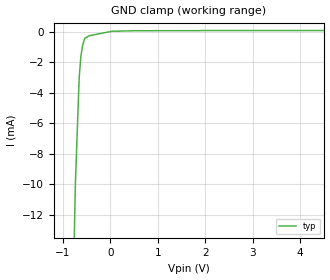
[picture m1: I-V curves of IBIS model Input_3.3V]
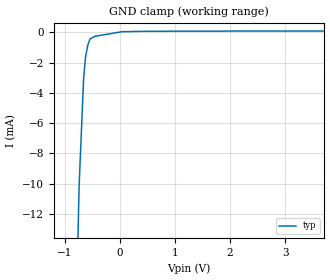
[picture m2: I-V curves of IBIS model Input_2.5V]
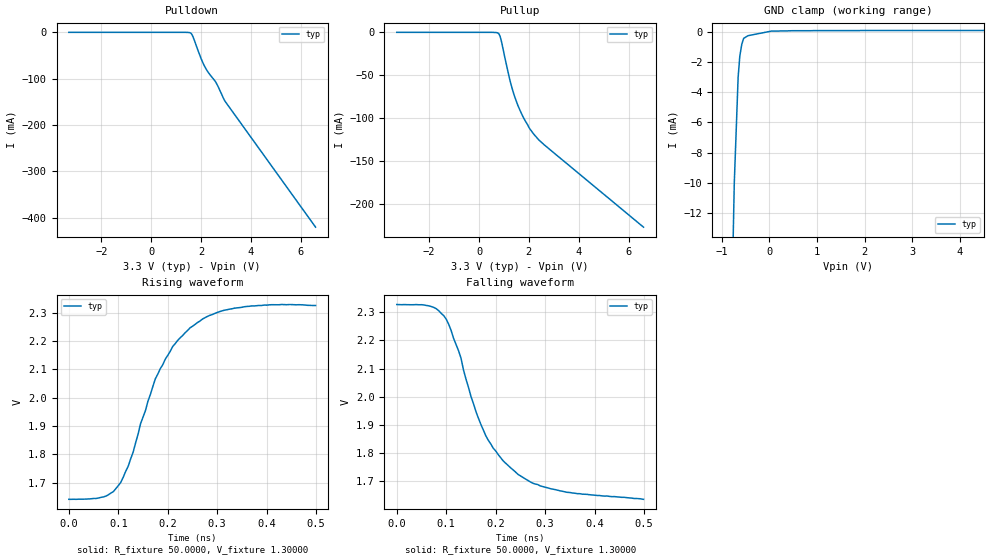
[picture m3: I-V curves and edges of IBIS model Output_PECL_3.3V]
| Teraspeed Modeling Services.
| http://www.teraspeed.com
[IBIS Ver]   3.2
[Comment Char] |_char
[File Name]   nb6l239mn.ibs
[File Rev]   3.0
[Source]  Teraspeed Consulting Group LLC.
   Measured and Created by Dekker Graden
[Date]   06-18-2004
[Notes]   Quality Check of this IBIS model: Model Passes IBIS Check
   Model parses into ICX IS. Simulation done with Hyperlynx.
[Disclaimer]
| Use: Teraspeed Consulting Group LLC ("Teraspeed") has
| licensed IBIS models to specific integrated circuit
| suppliers ("IC Vendors") for use and distribustion as
| follows: Each IC Vendor may use IBIS Models, and distribute
| them to IC Vendor's custumers to use solely for developing
| printed circute board designs. Users of this model may
| modify the IBIS model to suit its specific applications but
| rights to derivative works and such modifications shell belong
| to Teraspeed. No other distribusion of these materials is
| permitted.
| DISCLAIMER OF WARRANTY: UNLESS OTHERWISE AGREED TO IN WRITING
| TERASPEED DISCLAIMS AND USER WAIVES ALL WARRANTIES, EXPRESS
| OR IMPLIED, INCLUDING WARRANTIES OF MERCHANTABILITY AND
| FITNESS FOR A PARTICULAR PURPOSE. IN NO EVENT SHALL
| TERASPEED BE LIABLE FOR ANY DIRECT OR INDIRECT DAMAGES,
| WHETHER IN CONTRACT OR TORT, INCLUDING, WITHOUT LIMITATION,
| LOST PROFITS, BUSINESS INTERRUPTION, OR LOST INFORMATION
| ARISING OUT OF THE USE OF OR THE INABILITY TO USE THE MODEL,
| EVEN IF TERASPEED HAS BEEN ADVISED OF THE POSSIBILITY OF SUCH
| DAMAGES.
[Copyright]
| This file is the legal property of Teraspeed Copyright(c) 2004.
| All other rights are reserved.
[Component] NB6L239MN
[Manufacturer] ON
[Package]
| variable   typ   min   max
R_pkg  1.5243E-02  1.4866E-02  1.5620E-02
L_pkg  9.9081E-10  9.6629E-10  1.0153E-09
C_pkg  2.3451E-13  2.2871E-13  2.4032E-13
[Pin] signal_name  model_name  R_pin  L_pin C_pin
1   VT   POWER   1.5620E-02  1.0153E-09  2.4032E-13
2   CLK   Input   1.4866E-02  9.6629E-10  2.2871E-13
3   _CLK   Input   1.4866E-02  9.6629E-10  2.2871E-13
4   Vbbac  POWER   1.5620E-02  1.0153E-09  2.4032E-13
5   _EN   Input   1.5620E-02  1.0153E-09  2.4032E-13
6   SELB0  Input   1.4866E-02  9.6629E-10  2.2871E-13
7   SELB1  Input   1.4866E-02  9.6629E-10  2.2871E-13
8   VEE   GND   1.5620E-02  1.0153E-09  2.4032E-13
9   _QB   ECL_Output  1.5620E-02  1.0153E-09  2.4032E-13
10  QB   ECL_Output  1.4866E-02  9.6629E-10  2.2871E-13
11  _QA   ECL_Output  1.4866E-02  9.6629E-10  2.2871E-13
12  QA   ECL_Output  1.5620E-02  1.0153E-09  2.4032E-13
13  VCC   POWER   1.5620E-02  1.0153E-09  2.4032E-13
14  SELA1  Input   1.4866E-02  9.6629E-10  2.2871E-13
15  SELA0  Input   1.4866E-02  9.6629E-10  2.2871E-13
16  _MR   Input   1.5620E-02  1.0153E-09  2.4032E-13
[Diff Pin] inv_pin vdiff tdelay_typ tdelay_min tdelay_max
1   2   150mV  NA  NA  NA
10  9   NA   NA  NA  NA
12  11  NA   NA  NA  NA
[Series Pin Mapping] pin_2 model_name function_table_group
2   1   Series_50ohm
3   1   Series_50ohm
[Model Selector] ECL_Output
Output_PECL_3.3V   PECL Output at 3.3V
Output_PECL_2.5V   PECL Output at 2.5V
[Model Selector] Input
Input_3.3V   Input at 3.3V Power
Input_2.5V   Input at 3.5V Power
[Model]   Series_50ohm
Model_type   Series
C_comp   0  0  0
[Voltage Range]  3.3  NA  NA
|[Voltage Range]  2.5  NA  NA
[R series]   50   NA  NA
| Models and submodels in the file (5): Input_3.3V (Input_ECL), Input_2.5V (Input_ECL), Output_PECL_3.3V (Output_ECL), Output_PECL_2.5V (Output_ECL), Series_50ohm (Series)
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[Model] Input_3.3V
Model_type Input_ECL
Vinl  = 1.225V
Vinh  = 1.375V
C_comp  1.13000pF  1.13000pF  1.13000pF
| variable   typ   NA  NA
[Voltage Range]   3.30000V  NA  NA
[POWER Clamp Reference]  3.30000V  NA  NA
[GND Clamp Reference]   0.00000V  NA  NA
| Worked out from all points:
|   GND clamp passes 1 mA (typ) near -0.59 V on its own axis
[GND Clamp]
-3.3V     -409.9mA   NA         NA
-739.8mV  -10.04mA   NA         NA
-658.9mV  -3.027mA   NA         NA
-623.7mV  -1.624mA   NA         NA
-582.7mV  -836.2uA   NA         NA
-542.4mV  -439.4uA   NA         NA
-452mV    -264.7uA   NA         NA
41.24mV   39.83uA    NA         NA
481.5mV   65.7uA     NA         NA
6.6V      80.85uA    NA         NA
[POWER Clamp]
| Voltage   I(typ)   NA  NA
-3.3V     0A         NA         NA
-3.2V     0A         NA         NA
-3.1V     0A         NA         NA
6.6V      0A         NA         NA
[Model] Input_2.5V
Model_type Input_ECL
Vinl  = 0.425V
Vinh  = 0.575V
C_comp  1.13000pF  1.13000pF  1.13000pF
| variable   typ   NA  NA
[Voltage Range]   2.50000V  NA  NA
[POWER Clamp Reference]  2.50000V  NA  NA
[GND Clamp Reference]   0.00000V  NA  NA
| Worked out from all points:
|   GND clamp passes 1 mA (typ) near -0.59 V on its own axis
[GND Clamp]
-2.5V     -284.9mA   NA         NA
-739.8mV  -10.04mA   NA         NA
-658.9mV  -3.027mA   NA         NA
-623.7mV  -1.624mA   NA         NA
-582.7mV  -836.2uA   NA         NA
-542.4mV  -439.4uA   NA         NA
-452mV    -264.7uA   NA         NA
41.24mV   39.83uA    NA         NA
279.3mV   54.92uA    NA         NA
5V        80.85uA    NA         NA
[POWER Clamp]
| Voltage   I(typ)   NA  NA
-2.5V     0A         NA         NA
-2V       0A         NA         NA
-1.5V     0A         NA         NA
5V        0A         NA         NA
[Model] Output_PECL_3.3V
Model_type Output_ECL
Vref  = 1.30000V
Rref  = 50.0000ohms
Cref  = 0.00000pF
Vmeas = 1.9839V
C_comp  1.13000pF  1.13000pF  1.13000pF
| variable   typ   NA  NA
[Voltage Range]   3.30000V  NA  NA
[POWER Clamp Reference]  3.30000V  NA  NA
[Pullup Reference]   3.30000V  NA  NA
[Pulldown Reference]   3.30000V  NA  NA
[GND Clamp Reference]   0.00000V  NA  NA
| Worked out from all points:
|   GND clamp passes 1 mA (typ) near -0.59 V on its own axis
|   falling waveform, R_fixture 50.0000, V_fixture 1.30000: 20-80 % time 95.3ps typ, NA min, NA max; typ from 2.33 V to 1.64 V
|   rising waveform, R_fixture 50.0000, V_fixture 1.30000: 20-80 % time 90.2ps typ, NA min, NA max; typ from 1.64 V to 2.33 V
[GND Clamp]
-3.3V     -409.9mA   NA         NA
-739.8mV  -10.04mA   NA         NA
-658.9mV  -3.027mA   NA         NA
-623.7mV  -1.624mA   NA         NA
-582.7mV  -836.2uA   NA         NA
-542.4mV  -439.4uA   NA         NA
-452mV    -264.7uA   NA         NA
41.24mV   39.83uA    NA         NA
481.5mV   65.7uA     NA         NA
6.6V      80.85uA    NA         NA
[Pulldown]
-3.3V     10.69uA    NA         NA
1.358V    0A         NA         NA
1.601V    -1.997mA   NA         NA
1.681V    -9.45mA    NA         NA
1.999V    -55.73mA   NA         NA
2.121V    -70.53mA   NA         NA
2.277V    -85.26mA   NA         NA
2.601V    -107.7mA   NA         NA
2.96V     -148.1mA   NA         NA
6.6V      -420.1mA   NA         NA
[Pullup]
-3.3V     13.26uA    NA         NA
761.2mV   -834.1uA   NA         NA
801.9mV   -1.877mA   NA         NA
877.3mV   -7.932mA   NA         NA
1.241V    -56.01mA   NA         NA
1.439V    -75.84mA   NA         NA
1.56V     -85.47mA   NA         NA
1.763V    -98.48mA   NA         NA
1.999V    -111mA     NA         NA
2.161V    -117.7mA   NA         NA
2.601V    -131.1mA   NA         NA
6.6V      -227.6mA   NA         NA
[POWER Clamp]
| Voltage   I(typ)   NA  NA
-3.3V     0A         NA         NA
-3.2V     0A         NA         NA
-3.1V     0A         NA         NA
6.6V      0A         NA         NA
[Falling Waveform]
R_fixture = 50.0000
V_fixture = 1.30000
0s        2.327V     NA         NA
65ps      2.322V     NA         NA
95ps      2.288V     NA         NA
125ps     2.163V     NA         NA
150ps     2.002V     NA         NA
180ps     1.862V     NA         NA
215ps     1.774V     NA         NA
245ps     1.725V     NA         NA
345ps     1.661V     NA         NA
499ps     1.637V     NA         NA
[Rising Waveform]
R_fixture = 50.0000
V_fixture = 1.30000
0s        1.641V     NA         NA
70ps      1.649V     NA         NA
105ps     1.7V       NA         NA
130ps     1.807V     NA         NA
145ps     1.908V     NA         NA
175ps     2.067V     NA         NA
210ps     2.181V     NA         NA
245ps     2.247V     NA         NA
335ps     2.317V     NA         NA
499ps     2.326V     NA         NA
[Ramp]
| variable typ min max
dV/dt_r 407.693m/91.2527p NA NA
dV/dt_f 407.693m/95.4601p NA NA
R_load = 50.0000Ohms
